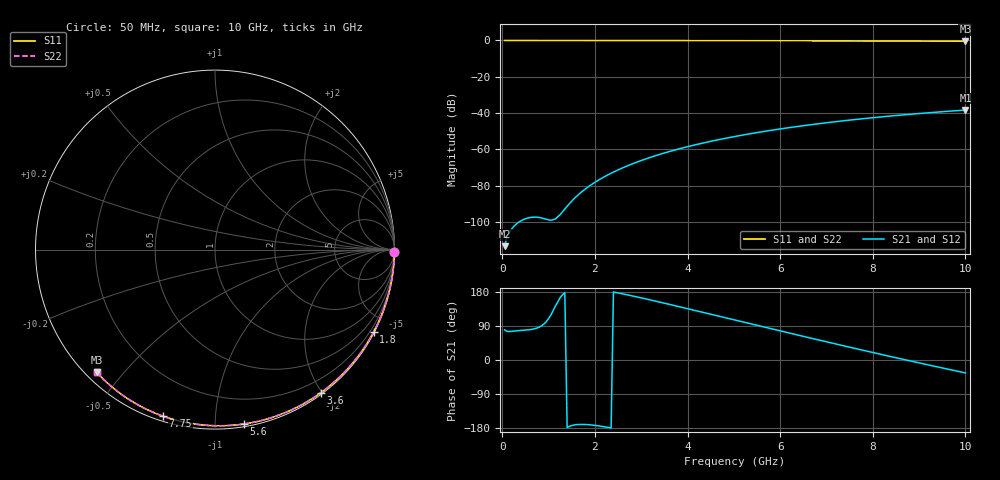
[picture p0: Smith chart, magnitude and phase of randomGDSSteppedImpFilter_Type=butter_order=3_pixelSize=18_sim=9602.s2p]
! freq	dB(S11)	phase(S11)	dB(S12)	phase(S12)
!  dB(S21)	phase(S21)	dB(S22)	phase(S22)
!S-par simulation data
#  GHz  S  DB  R 50
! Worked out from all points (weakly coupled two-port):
!   200 points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, 50 MHz to 10 GHz, reference 50 ohm
!   highest |S21| = -38.32 dB at 10 GHz (marker M1); lowest = -113.3 dB at 50 MHz (marker M2)
!   lowest |S11| = -0.4 dB at 10 GHz (marker M3), VSWR 38.68, Z = 1.53 - j21.2 ohm
!   |S11| at or under -10 dB: nowhere
!   |S22| runs from -0.4 to 0.0 dB; largest |S21 - S12| = 0
!   S11 on the Smith chart (normalised r, x): 50 MHz: open; 1.8 GHz: 0.04, -4.11; 3.6 GHz: 0.02, -1.99; 5.6 GHz: 0.02, -1.18; 7.75 GHz: 0.02, -0.73; 10 GHz: 0.03, -0.42
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0.05  -0.00 -0.8  -113.27 79.7  -113.27 79.7  -0.00 -0.8
0.45  -0.01 -6.9  -98.68 78.5  -98.68 78.5  -0.01 -6.9
0.9  -0.02 -13.8  -98.11 95.2  -98.11 95.2  -0.02 -13.8
1.75  -0.03 -26.6  -82.62 -170.0  -82.62 -170.0  -0.03 -26.6
1.8  -0.03 -27.3  -81.63 -170.2  -81.63 -170.2  -0.03 -27.3
1.9  -0.04 -28.8  -79.79 -171.1  -79.79 -171.1  -0.04 -28.8
2.05  -0.04 -31.1  -77.31 -173.3  -77.31 -173.3  -0.04 -31.1
2.25  -0.04 -34.0  -74.40 -177.2  -74.40 -177.2  -0.04 -34.0
2.45  -0.05 -36.9  -71.85 178.3  -71.85 178.3  -0.05 -36.9
2.65  -0.05 -39.9  -69.57 173.3  -69.57 173.3  -0.05 -39.9
3  -0.06 -44.9  -66.10 164.0  -66.10 164.0  -0.06 -44.9
3.4  -0.07 -50.6  -62.71 152.8  -62.71 152.8  -0.07 -50.6
3.6  -0.07 -53.5  -61.21 147.1  -61.21 147.1  -0.07 -53.5
4.3  -0.09 -63.2  -56.67 126.7  -56.67 126.7  -0.09 -63.2
5.05  -0.11 -73.3  -52.74 104.7  -52.74 104.7  -0.11 -73.3
5.6  -0.13 -80.5  -50.30 88.5  -50.30 88.5  -0.13 -80.5
6.15  -0.15 -87.6  -48.16 72.5  -48.16 72.5  -0.15 -87.6
6.7  -0.18 -94.5  -46.26 56.6  -46.26 56.6  -0.18 -94.5
7.75  -0.25 -107.4  -43.17 26.8  -43.17 26.8  -0.25 -107.4
8.35  -0.29 -114.5  -41.67 10.1  -41.67 10.1  -0.29 -114.5
9.15  -0.36 -124.0  -39.92 -11.7  -39.92 -11.7  -0.36 -124.0
10  -0.45 -134.0  -38.32 -34.1  -38.32 -34.1  -0.45 -134.0
